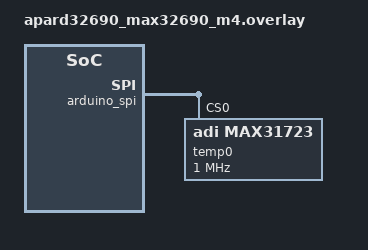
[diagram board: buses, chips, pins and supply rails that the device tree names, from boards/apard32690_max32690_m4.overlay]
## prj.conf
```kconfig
# Copyright (c) 2021 Nordic Semiconductor ASA
# SPDX-License-Identifier: Apache-2.0
#
# This file contains selected Kconfig options for the application.

CONFIG_SENSOR=y
CONFIG_MAX31723=y
```

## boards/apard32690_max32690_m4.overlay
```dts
/*
 * Copyright (c) 2025 Analog Devices, Inc
 * SPDX-License-Identifier: Apache-2.0
 */

/* This devicetree overlay file will be automatically picked by the Zephyr
 * build system when building the sample for the apard32690 board. 
 */

/ {
    aliases {
        ambient-temp0 = &temp0;
    };
};

&arduino_spi {
    status = "okay";

    temp0: max31723@0 {
        status = "okay";
        compatible = "adi,max31723";
        reg = <0>;
        spi-max-frequency = <1000000>;
        oneshot_mode;
        resolution = <3>;
        thermostat_mode = <1>;
    };
};
```

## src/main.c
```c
/*
 * Copyright (c) 2021 Nordic Semiconductor ASA
 * SPDX-License-Identifier: Apache-2.0
 */

#include <zephyr/kernel.h>
#include <zephyr/drivers/sensor.h>
#include <zephyr/logging/log.h>

#include <app_version.h>

LOG_MODULE_REGISTER(main, CONFIG_APP_LOG_LEVEL);

int main(void)
{
	int ret;
	const struct device *sensor = DEVICE_DT_GET(DT_ALIAS(ambient_temp0));
	struct sensor_value last_val = { 0 }, val;

	printk("Zephyr Example Application %s\n", APP_VERSION_STRING);

	if (!device_is_ready(sensor)) {
		LOG_ERR("Sensor not ready");
		return 0;
	}

	while (1) {
		ret = sensor_sample_fetch(sensor);
		if (ret < 0) {
			LOG_ERR("Could not fetch sample (%d)", ret);
			return 0;
		}

		ret = sensor_channel_get(sensor, SENSOR_CHAN_AMBIENT_TEMP, &val);
		if (ret < 0) {
			LOG_ERR("Could not get sample (%d)", ret);
			return 0;
		}

		last_val = val;

		k_sleep(K_MSEC(100));
	}

	return 0;
}
```
